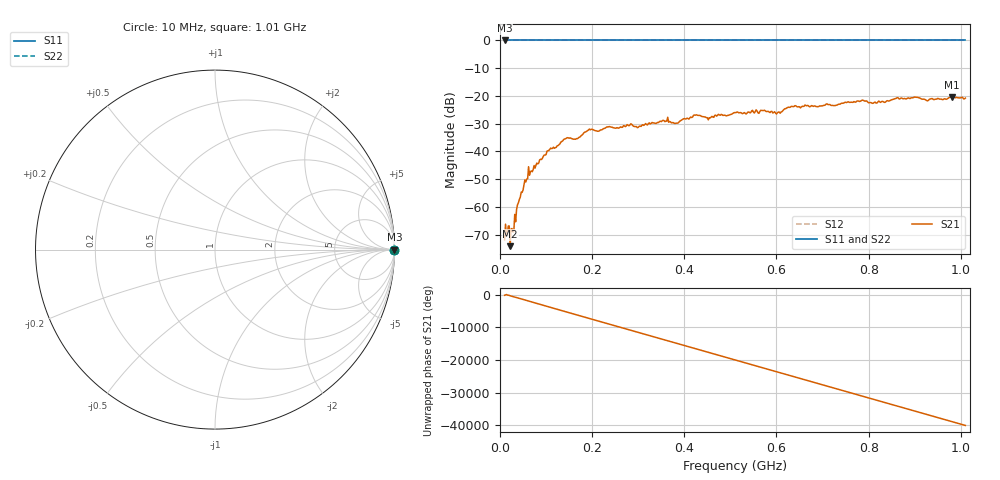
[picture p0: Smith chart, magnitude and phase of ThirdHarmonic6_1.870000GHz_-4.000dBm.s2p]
! 8/16/2025 10:36:05 PM
! C:\ANRITSUVNA\TEMP\TEMP.S2P
! CHANNEL.1
! TR.MEASUREMENT
! RAW.DATA
! RF.CORRECTION.OFF
! AVERAGING.OFF
! IF.BANDWIDTH: 5KHZ
! SWEEPTYPE:  FREQ.SWEEP(Linear)
! Reference Plane Port Info
! PORT:  PORT1  PORT2
! DISTANCE:  0  m  0  m
! TIME:  0  s  0  s
! PHASE.OFFSET:  0  deg.  0  deg.
! LOSS:  0  dB  0  dB
! REF.LOSS:  0  dB  0  dB
! REF.FREQ:  0  Hz  0  Hz
! Power Info
! POWER:  -20  dBm  -20  dBm
! EFF.POWER:  -20  dBm  -20  dBm
! SOURCE.ATTEN:  0  dB  0  dB
! TEST.ATTEN:  0  dB  0  dB
# GHZ S RI R 50.0
! FREQ.GHZ  S11RE  S11IM  S21RE  S21IM  S12RE  S12IM  S22RE  S22IM
!; PortSelection: Port_12
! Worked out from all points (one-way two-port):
!   501 points, 10 MHz to 1.01 GHz, reference 50 ohm
!   highest |S21| = -20.32 dB at 980 MHz (marker M1); lowest = -74.1 dB at 22 MHz (marker M2)
!   lowest |S11| = 0.0 dB at 10 MHz (marker M3)
!   |S11| at or under -10 dB: nowhere
!   |S22| runs from 0.0 to 0.0 dB; largest |S21 - S12| = 1.1
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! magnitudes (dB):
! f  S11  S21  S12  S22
! 10 MHz  0.0  -71.9  0.0  0.0
! 16 MHz  0.0  -69.4  0.0  0.0
! 18 MHz  0.0  -66.9  0.0  0.0
! 22 MHz  0.0  -74.1  0.0  0.0
! 26 MHz  0.0  -67.8  0.0  0.0
! 42 MHz  0.0  -57.3  0.0  0.0
! 58 MHz  0.0  -50.0  0.0  0.0
! 66 MHz  0.0  -47.3  0.0  0.0
! 106 MHz  0.0  -39.6  0.0  0.0
! 142 MHz  0.0  -35.5  0.0  0.0
! 178 MHz  0.0  -34.1  0.0  0.0
! 196 MHz  0.0  -32.2  0.0  0.0
! 344 MHz  0.0  -29.6  0.0  0.0
! 382 MHz  0.0  -29.8  0.0  0.0
! 424 MHz  0.0  -26.9  0.0  0.0
! 510 MHz  0.0  -26.0  0.0  0.0
! 604 MHz  0.0  -25.8  0.0  0.0
! 636 MHz  0.0  -23.8  0.0  0.0
! 678 MHz  0.0  -23.6  0.0  0.0
! 844 MHz  0.0  -21.8  0.0  0.0
! 980 MHz  0.0  -20.3  0.0  0.0
! 1.01 GHz  0.0  -20.8  0.0  0.0
